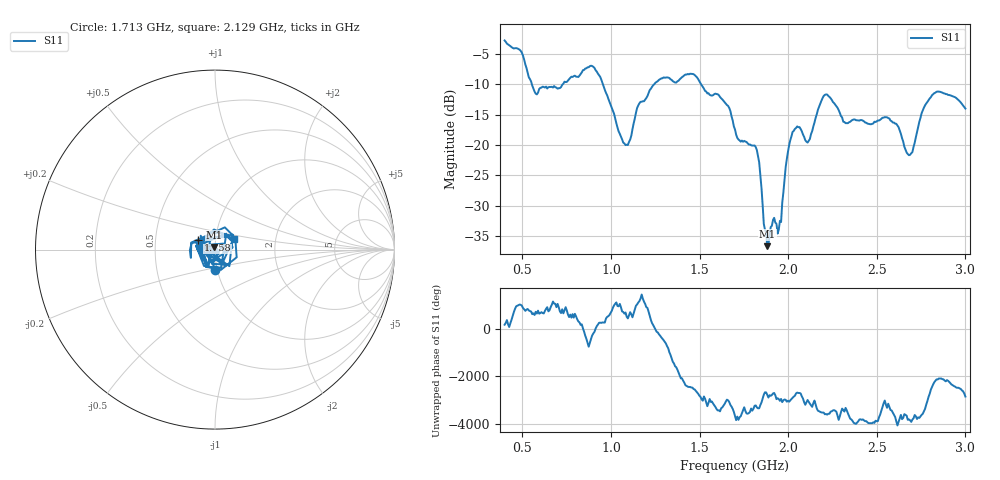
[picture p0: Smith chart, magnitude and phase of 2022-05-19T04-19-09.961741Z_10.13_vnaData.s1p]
!Created with skrf (http://scikit-rf.org).
# Hz S RI R 50.0
!freq ReS11 ImS11
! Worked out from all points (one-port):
!   401 points, 400 MHz to 3 GHz, reference 50 ohm
!   lowest |S11| = -36.6 dB at 1.882 GHz (marker M1), VSWR 1.03, Z = 49.5 + j1.4 ohm
!   |S11| at or under -10 dB: 553.5 MHz to 729.7 MHz (176.1 MHz wide, 27.5 % of centre); 954.2 MHz to 1.245 GHz (291.2 MHz wide, 26.5 % of centre); 1.508 GHz to end of sweep
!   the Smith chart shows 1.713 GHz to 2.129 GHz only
!   S11 on the Smith chart (normalised r, x): 1.713 GHz: 0.98, -0.23; 1.758 GHz: 0.83, +0.09; 2.129 GHz: 1.23, +0.15
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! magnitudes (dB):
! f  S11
! 400 MHz  -2.8
! 491 MHz  -4.6
! 575.5 MHz  -11.6
! 725 MHz  -10.1
! 900.5 MHz  -7.2
! 1.05 GHz  -18.2
! 1.095 GHz  -20.0
! 1.154 GHz  -13.5
! 1.258 GHz  -9.6
! 1.375 GHz  -9.6
! 1.472 GHz  -8.5
! 1.655 GHz  -13.4
! 1.7 GHz  -17.5
! 1.713 GHz  -18.8
! 1.758 GHz  -19.4
! 1.823 GHz  -20.9
! 1.882 GHz  -36.6
! 1.954 GHz  -32.4
! 1.992 GHz  -22.3
! 2.025 GHz  -17.8
! 2.129 GHz  -18.2
! 2.213 GHz  -11.7
! 2.35 GHz  -16.2
! 2.558 GHz  -15.4
! 2.616 GHz  -16.8
! 2.675 GHz  -21.5
! 2.825 GHz  -11.5
! 3 GHz  -14.0
